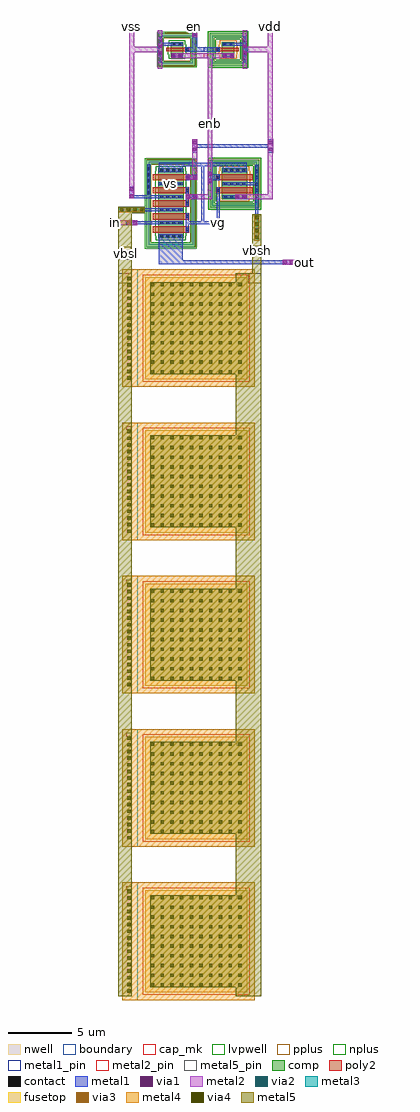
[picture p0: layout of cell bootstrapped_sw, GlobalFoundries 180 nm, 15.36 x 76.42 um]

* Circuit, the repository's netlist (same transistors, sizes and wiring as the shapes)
* NGSPICE file created from bootstrapped_sw.ext - technology: gf180mcuD

.subckt XM1_bs G D a_811_3903# S a_1507_3903#
X0 D G S a_811_3903# nfet_03v3 ad=0.88p pd=4.88u as=0.88p ps=4.88u w=2u l=0.5u
.ends

.subckt XM4_bs G D S
X0 D G S S pfet_03v3 ad=0.88p pd=4.88u as=0.88p ps=4.88u w=2u l=0.5u
.ends

.subckt XMs1_bs G D S a_n2855_n800#
X0 D G S a_n2855_n800# nfet_03v3 ad=0.88p pd=4.88u as=0.88p ps=4.88u w=2u l=0.5u
.ends

.subckt cap_mim_2p0fF_8JNR63 m4_n3440_n548# m4_n3800_n668#
X0 m4_n3440_n548# m4_n3800_n668# cap_mim_2f0fF c_width=8u c_length=8u
.ends

.subckt sw_cap_unit in out
Xcap_mim_2p0fF_8JNR63_0 out in cap_mim_2p0fF_8JNR63
.ends

.subckt sw_cap out in
Xsw_cap_unit_0 in out sw_cap_unit
Xsw_cap_unit_1 in out sw_cap_unit
Xsw_cap_unit_2 in out sw_cap_unit
Xsw_cap_unit_3 in out sw_cap_unit
Xsw_cap_unit_4 in out sw_cap_unit
.ends

.subckt XM3_bs G D S
X0 S G D S pfet_03v3 ad=0.88p pd=4.88u as=0.88p ps=4.88u w=2u l=0.5u
.ends

.subckt XMs_bs G D S a_846_4542#
X0 S G D a_846_4542# nfet_03v3 ad=0.88p pd=4.88u as=0.88p ps=4.88u w=2u l=0.5u
.ends

.subckt XM1_bs_inv G D S
X0 D G S S nfet_03v3 ad=0.44p pd=2.88u as=0.44p ps=2.88u w=1u l=0.28u
.ends

.subckt XM2_bs_inv G D S
X0 S G D S pfet_03v3 ad=0.44p pd=2.88u as=0.44p ps=2.88u w=1u l=0.28u
.ends

.subckt bs_inv in vdd out vss
XXM1_bs_inv_0 in out vss XM1_bs_inv
XXM2_bs_inv_0 in out vdd XM2_bs_inv
.ends

.subckt XM2_bs G D a_811_3460# a_1507_3460# S
X0 S G D a_811_3460# nfet_03v3 ad=0.88p pd=4.88u as=0.88p ps=4.88u w=2u l=0.5u
.ends

.subckt XMs2_bs B G D a_n3988_469# S a_n3988_1165#
X0 D G S a_n3988_469# nfet_03v3 ad=0.88p pd=4.88u as=0.88p ps=4.88u w=2u l=0.5u
.ends

.subckt bootstrapped_sw vbsl vbsh vs vg in vdd vss en enb out
XXM1_bs_0 vg vbsl vss in vss XM1_bs
XXM4_bs_0 enb vg vbsh XM4_bs
XXMs1_bs_0 vdd vs vg vss XMs1_bs
Xsw_cap_0 vbsh vbsl sw_cap
XXM3_bs_0 vg vdd vbsh XM3_bs
XXMs_bs_0 vg out in vss XMs_bs
Xbs_inv_0 en vdd enb vss bs_inv
XXM2_bs_0 enb vbsl vss vss vss XM2_bs
XXMs2_bs_0 XMs2_bs_0/B enb vss vss vs vss XMs2_bs
.ends

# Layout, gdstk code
from math import pi, radians
import gdstk
lib = gdstk.Library(unit=1e-6, precision=1e-09)
def R(c, l, rs):  # rectangles x0, y0, x1, y1
    for r in rs: c.add(gdstk.rectangle(r[:2], r[2:], *l))
def A(c, l, x, y, w, h, nx, ny, dx, dy):  # array of equal rectangles
    R(c, l, [(x+i*dx, y+j*dy, x+i*dx+w, y+j*dy+h) for i in range(nx) for j in range(ny)])
def P(c, l, *ps):  # polygons
    for p in ps: c.add(gdstk.Polygon(p, *l))
boundary = (0, 0)
nwell = (21, 0)
comp = (22, 0)
poly2 = (30, 0)
pplus = (31, 0)
nplus = (32, 0)
contact = (33, 0)
metal1 = (34, 0)
metal1_pin = (34, 10)
via1 = (35, 0)
metal2 = (36, 0)
metal2_pin = (36, 10)
via2 = (38, 0)
via3 = (40, 0)
via4 = (41, 0)
metal3 = (42, 0)
metal4 = (46, 0)
fusetop = (75, 0)
metal5 = (81, 0)
metal5_pin = (81, 10)
cap_mk = (117, 5)
lvpwell = (204, 0)

xms1_bs = lib.new_cell('XMs1_bs')
R(xms1_bs, boundary, [(-14.095,-3.82,-11.695,-0.34)])
R(xms1_bs, comp, [(-14.275,-4,-11.515,-3.64), (-14.275,-3.64,-13.915,-0.52), (-13.585,-3.08,-12.205,-1.08), (-14.275,-0.52,-11.515,-0.16)])
R(xms1_bs, poly2, [(-13.145,-3.495,-12.645,-0.62)])
R(xms1_bs, pplus, [(-14.295,-4.02,-11.495,-3.62), (-14.295,-3.62,-13.885,-3.515), (-14.305,-3.515,-13.885,-0.645), (-14.295,-0.645,-13.885,-0.54), (-14.295,-0.54,-11.495,-0.14)])
R(xms1_bs, nplus, [(-13.375,-3.31,-12.355,-3.24), (-13.745,-3.24,-12.045,-0.92), (-13.375,-0.92,-12.355,-0.85)])
A(xms1_bs, contact, -13.515, -2.895, 0.22, 0.22, 1, 4, 0, 0.47)
A(xms1_bs, contact, -12.495, -2.895, 0.22, 0.22, 1, 4, 0, 0.47)
R(xms1_bs, contact, [(-13.005,-0.91,-12.785,-0.69)])
R(xms1_bs, metal1, [(-14.045,-3.015,-13.29,-1.145), (-12.5,-3.015,-12.27,-1.145), (-13.135,-0.915,-12.655,-0.685)])
R(xms1_bs, lvpwell, [(-14.395,-4.12,-11.335,-0.04)])
xms1_bs.add(gdstk.Label('D', (-12.42,-2.07), layer=34, texttype=0))
xms1_bs.add(gdstk.Label('S', (-13.38,-2.07), layer=34, texttype=0))
xms1_bs.add(gdstk.Label('G', (-12.9,-2.07), layer=30, texttype=10))

xms2_bs = lib.new_cell('XMs2_bs')
R(xms2_bs, boundary, [(-19.76,2.525,-17.36,6.005)])
R(xms2_bs, comp, [(-19.94,2.345,-17.18,2.705), (-19.25,3.265,-17.87,5.265), (-19.94,5.825,-17.18,6.185)])
R(xms2_bs, poly2, [(-18.81,2.805,-18.31,5.68)])
R(xms2_bs, pplus, [(-19.96,2.325,-17.16,2.725), (-19.96,5.805,-17.16,6.205)])
R(xms2_bs, nplus, [(-19.04,3.035,-18.02,3.105), (-19.41,3.105,-17.71,5.425), (-19.04,5.425,-18.02,5.495)])
A(xms2_bs, contact, -19.18, 3.45, 0.22, 0.22, 1, 4, 0, 0.47)
A(xms2_bs, contact, -18.16, 3.45, 0.22, 0.22, 1, 4, 0, 0.47)
R(xms2_bs, contact, [(-18.67,2.875,-18.45,3.095)])
R(xms2_bs, metal1, [(-18.8,2.87,-18.32,3.1), (-19.185,3.33,-18.955,5.2), (-18.165,3.33,-17.935,5.2)])
R(xms2_bs, lvpwell, [(-20.06,2.225,-17,6.305)])
xms2_bs.add(gdstk.Label('D', (-18.04,4.33), layer=34, texttype=0))
xms2_bs.add(gdstk.Label('S', (-19,4.33), layer=34, texttype=0))
xms2_bs.add(gdstk.Label('G', (-18.52,4.33), layer=30, texttype=10))
xms2_bs.add(gdstk.Label('B', (-19.69,6.245), layer=204, texttype=10))

xm2_bs = lib.new_cell('XM2_bs')
R(xm2_bs, boundary, [(4.235,17.48,7.715,19.88)])
R(xm2_bs, comp, [(4.055,17.3,4.415,20.06), (7.535,17.3,7.895,20.06), (4.975,17.99,6.975,19.37)])
R(xm2_bs, poly2, [(4.56,18.43,7.435,18.93)])
R(xm2_bs, pplus, [(4.035,17.28,4.435,20.08), (7.515,17.28,7.915,20.08)])
R(xm2_bs, nplus, [(4.815,17.83,7.135,19.53), (4.745,18.14,4.815,19.16), (7.135,18.2,7.205,19.16)])
A(xm2_bs, contact, 5.16, 18.06, 0.22, 0.22, 4, 2, 0.47, 1.02)
R(xm2_bs, contact, [(7.145,18.57,7.365,18.79)])
R(xm2_bs, metal1, [(5.04,18.055,6.91,18.285), (7.14,18.44,7.37,18.92), (5.04,19.075,6.91,19.305)])
R(xm2_bs, lvpwell, [(3.935,17.18,8.015,20.18)])
xm2_bs.add(gdstk.Label('D', (5.975,18.215), layer=34, texttype=0))
xm2_bs.add(gdstk.Label('S', (5.975,19.175), layer=34, texttype=0))
xm2_bs.add(gdstk.Label('G', (5.975,18.695), layer=30, texttype=10))

xms_bs = lib.new_cell('XMs_bs')
R(xms_bs, boundary, [(4.41,22.89,7.89,25.29)])
R(xms_bs, comp, [(4.23,22.71,4.59,25.47), (4.59,22.71,7.71,23.07), (7.71,22.71,8.07,25.47), (5.15,23.4,7.15,24.78)])
R(xms_bs, poly2, [(4.735,23.84,7.61,24.34)])
R(xms_bs, pplus, [(4.715,22.68,7.585,23.1), (4.21,22.69,4.61,25.49), (4.61,22.69,4.715,23.1), (7.585,22.69,7.69,23.1), (7.69,22.69,8.09,25.49)])
R(xms_bs, nplus, [(4.99,23.24,7.31,24.94), (4.92,23.61,4.99,24.57), (7.31,23.61,7.38,24.63)])
A(xms_bs, contact, 5.335, 23.47, 0.22, 0.22, 4, 2, 0.47, 1.02)
R(xms_bs, contact, [(7.32,23.98,7.54,24.2)])
R(xms_bs, metal1, [(5.215,21.37,7.085,23.695), (7.315,23.85,7.545,24.33), (5.215,24.485,7.085,24.715)])
R(xms_bs, lvpwell, [(4.11,22.59,8.19,25.59)])
xms_bs.add(gdstk.Label('D', (6.18,23.655), layer=34, texttype=0))
xms_bs.add(gdstk.Label('S', (6.18,24.615), layer=34, texttype=0))
xms_bs.add(gdstk.Label('G', (6.18,24.135), layer=30, texttype=10))

xm1_bs = lib.new_cell('XM1_bs')
R(xm1_bs, boundary, [(4.235,19.695,7.715,22.095)])
R(xm1_bs, comp, [(4.055,19.515,4.415,22.275), (7.535,19.515,7.895,22.275), (4.975,20.205,6.975,21.585)])
R(xm1_bs, poly2, [(4.56,20.645,7.435,21.145)])
R(xm1_bs, pplus, [(4.035,19.495,4.435,22.295), (7.515,19.495,7.915,22.295)])
R(xm1_bs, nplus, [(4.815,20.045,7.135,21.745), (4.745,20.355,4.815,21.375), (7.135,20.415,7.205,21.435)])
A(xm1_bs, contact, 5.16, 20.275, 0.22, 0.22, 4, 2, 0.47, 1.02)
R(xm1_bs, contact, [(7.145,20.785,7.365,21.005)])
R(xm1_bs, metal1, [(5.04,20.27,6.91,20.5), (7.14,20.655,7.37,21.135), (5.04,21.29,6.91,21.52)])
R(xm1_bs, lvpwell, [(3.935,19.395,8.015,22.395)])
xm1_bs.add(gdstk.Label('D', (5.965,21.38), layer=34, texttype=0))
xm1_bs.add(gdstk.Label('S', (5.965,20.42), layer=34, texttype=0))
xm1_bs.add(gdstk.Label('G', (5.965,20.9), layer=30, texttype=10))

cap_mim_2p0ff_8jnr63 = lib.new_cell('cap_mim_2p0fF_8JNR63')
R(cap_mim_2p0ff_8jnr63, boundary, [(-17.799,-3.342,-8.599,5.858)])
A(cap_mim_2p0ff_8jnr63, via4, -18.599, -2.772, 0.26, 0.26, 1, 16, 0, 0.52)
A(cap_mim_2p0ff_8jnr63, via4, -16.749, -2.292, 0.26, 0.26, 10, 10, 0.76, 0.76)
R(cap_mim_2p0ff_8jnr63, metal4, [(-18.999,-3.342,-8.599,5.858)])
R(cap_mim_2p0ff_8jnr63, fusetop, [(-17.199,-2.742,-9.199,5.258)])
R(cap_mim_2p0ff_8jnr63, metal5, [(-18.689,-3.057,-18.249,5.573), (-16.799,-2.342,-9.599,4.858)])
R(cap_mim_2p0ff_8jnr63, cap_mk, [(-17.399,-2.942,-8.999,5.458)])

sw_cap_unit = lib.new_cell('sw_cap_unit')
R(sw_cap_unit, metal5_pin, [(-5.939,6.507,-5.499,6.792), (-14.589,7.222,-14.149,7.507)])
sw_cap_unit.add(gdstk.Reference(cap_mim_2p0ff_8jnr63, (4.1,4.45), x_reflection=True))
sw_cap_unit.add(gdstk.Label('out', (-5.714,6.662), layer=81, texttype=10))
sw_cap_unit.add(gdstk.Label('in', (-14.364,7.377), layer=81, texttype=10))

sw_cap = lib.new_cell('sw_cap')
R(sw_cap, metal5, [(-1.39,-47.865,-0.35,8.765), (7.8,-47.865,9.8,8.765)])
R(sw_cap, metal5_pin, [(-1.39,7.948,-0.35,8.752), (8.76,7.948,9.8,8.752)])
sw_cap.add(gdstk.Reference(sw_cap_unit, (13.799,1.258)))
sw_cap.add(gdstk.Reference(sw_cap_unit, (13.799,-10.742)))
sw_cap.add(gdstk.Reference(sw_cap_unit, (13.799,-22.742)))
sw_cap.add(gdstk.Reference(sw_cap_unit, (13.799,-34.742)))
sw_cap.add(gdstk.Reference(sw_cap_unit, (13.799,-46.742)))
sw_cap.add(gdstk.Label('out', (9.28,8.35), layer=81, texttype=10))
sw_cap.add(gdstk.Label('in', (-0.87,8.35), layer=81, texttype=10))

xm1_bs_inv = lib.new_cell('XM1_bs_inv')
R(xm1_bs_inv, boundary, [(-1.09,-1.75,1.09,0.75)])
R(xm1_bs_inv, comp, [(-1.27,-1.93,1.27,-1.57), (-1.27,-1.57,-0.91,0.57), (0.91,-1.57,1.27,0.57), (-0.58,-1,0.58,0), (-1.27,0.57,1.27,0.93)])
R(xm1_bs_inv, poly2, [(-0.14,-1.35,0.14,0.1), (-0.18,0.1,0.18,0.46)])
R(xm1_bs_inv, pplus, [(-1.29,-1.95,1.29,-1.55), (-1.29,-1.55,-0.88,-1.445), (0.88,-1.55,1.29,-1.445), (-1.3,-1.445,-0.88,0.445), (0.88,-1.445,1.3,0.445), (-1.29,0.445,-0.88,0.55), (0.88,0.445,1.29,0.55), (-1.29,0.55,1.29,0.95)])
R(xm1_bs_inv, nplus, [(-0.37,-1.23,0.37,-1.16), (-0.74,-1.16,0.74,0.16), (-0.37,0.16,0.37,0.23)])
A(xm1_bs_inv, contact, -0.815, -1.86, 0.22, 0.22, 4, 1, 0.47, 0)
R(xm1_bs_inv, contact, [(-0.51,-0.845,-0.29,-0.625), (0.29,-0.845,0.51,-0.625), (-0.51,-0.375,-0.29,-0.155), (0.29,-0.375,0.51,-0.155), (-0.11,0.17,0.11,0.39)])
R(xm1_bs_inv, metal1, [(-1,-1.865,1,-1.635), (-0.515,-1.75,-0.285,-0.065), (0.285,-0.935,0.515,-0.065), (-0.17,0.165,0.17,0.395)])
R(xm1_bs_inv, lvpwell, [(-1.39,-2.05,1.39,1.05)])
xm1_bs_inv.add(gdstk.Label('D', (0.39,-0.12), layer=34, texttype=0))
xm1_bs_inv.add(gdstk.Label('S', (-0.415,-0.125), layer=34, texttype=0))
xm1_bs_inv.add(gdstk.Label('G', (-0.015,-0.125), layer=30, texttype=10))

xm2_bs_inv = lib.new_cell('XM2_bs_inv')
R(xm2_bs_inv, boundary, [(-1.09,-1.25,1.09,1.25)])
R(xm2_bs_inv, nwell, [(-1.39,-1.55,1.39,1.55)])
R(xm2_bs_inv, comp, [(-1.27,-1.43,1.27,-1.07), (-1.27,-1.07,-0.91,1.07), (0.91,-1.07,1.27,1.07), (-0.58,-0.5,0.58,0.5), (-1.27,1.07,1.27,1.43)])
R(xm2_bs_inv, poly2, [(-0.14,-0.85,0.14,0.6), (-0.18,0.6,0.18,0.96)])
R(xm2_bs_inv, pplus, [(-0.37,-0.73,0.37,-0.66), (-0.74,-0.66,0.74,0.66), (-0.37,0.66,0.37,0.73)])
R(xm2_bs_inv, nplus, [(-1.43,-1.59,1.43,-0.96), (-1.43,-0.96,-0.8,0.96), (0.8,-0.96,1.43,0.96), (-1.43,0.96,1.43,1.59)])
A(xm2_bs_inv, contact, -0.815, -1.36, 0.22, 0.22, 4, 1, 0.47, 0)
R(xm2_bs_inv, contact, [(-0.51,-0.345,-0.29,-0.125), (0.29,-0.345,0.51,-0.125), (-0.51,0.125,-0.29,0.345), (0.29,0.125,0.51,0.345), (-0.11,0.67,0.11,0.89)])
R(xm2_bs_inv, metal1, [(-1,-1.365,1,-1.135), (0.285,-1.25,0.515,0.435), (-0.515,-0.435,-0.285,0.435), (-0.17,0.665,0.17,0.895)])
xm2_bs_inv.add(gdstk.Label('S', (0.385,-0.125), layer=34, texttype=0))
xm2_bs_inv.add(gdstk.Label('D', (-0.415,-0.125), layer=34, texttype=0))
xm2_bs_inv.add(gdstk.Label('G', (-0.015,-0.125), layer=30, texttype=10))

bs_inv = lib.new_cell('bs_inv')
R(bs_inv, metal1, [(-0.45,-5.515,0.45,-5.135), (0.285,-4.465,0.665,-3.565), (-0.17,-3.335,0.17,-0.665), (0.285,-0.435,0.665,0.465), (-0.45,1.135,0.45,1.515)])
R(bs_inv, metal1_pin, [(-1,-5.365,-0.77,-5.135), (-0.17,-1.92,0.17,-1.58), (-1.025,1.135,-0.795,1.365)])
R(bs_inv, via1, [(-0.39,-5.455,-0.13,-5.195), (0.13,-5.455,0.39,-5.195), (0.345,-4.405,0.605,-4.145), (0.345,-3.885,0.605,-3.625), (0.345,-0.375,0.605,-0.115), (0.345,0.145,0.605,0.405), (-0.39,1.195,-0.13,1.455), (0.13,1.195,0.39,1.455)])
R(bs_inv, metal2, [(-1.5,-5.515,1.5,-5.135), (-0.45,-5.515,0.45,-5.135), (0.285,-4.465,0.665,-3.565), (0.285,-4.465,0.665,0.465), (0.285,-0.435,0.665,0.465), (-1.5,1.135,1.5,1.515), (-0.45,1.135,0.45,1.515)])
R(bs_inv, metal2_pin, [(0.285,-1.92,0.665,-1.58)])
bs_inv.add(gdstk.Reference(xm1_bs_inv, (0,-3.5)))
bs_inv.add(gdstk.Reference(xm2_bs_inv, (0,0), rotation=pi))
bs_inv.add(gdstk.Label('in', (-0.001,-1.737), layer=34, texttype=10))
bs_inv.add(gdstk.Label('vdd', (-0.911,1.25), layer=34, texttype=10))
bs_inv.add(gdstk.Label('vss', (-0.886,-5.25), layer=34, texttype=10))
bs_inv.add(gdstk.Label('out', (0.47,-1.748), layer=36, texttype=10))

xm3_bs = lib.new_cell('XM3_bs')
R(xm3_bs, boundary, [(-1.2,-1.74,1.2,1.74)])
R(xm3_bs, nwell, [(-1.5,-2.04,1.5,2.04)])
R(xm3_bs, comp, [(-1.38,-1.92,1.38,-1.56), (-1.38,-1.56,-1.02,1.56), (-0.69,-1,0.69,1), (-1.38,1.56,1.38,1.92)])
R(xm3_bs, poly2, [(-0.25,-1.415,0.25,1.46)])
R(xm3_bs, pplus, [(-0.48,-1.23,0.51,-1.16), (-0.85,-1.16,0.85,1.16), (-0.48,1.16,0.51,1.23)])
R(xm3_bs, nplus, [(-1.54,-2.08,1.54,-1.45), (-1.54,-1.45,-0.91,1.45), (-1.54,1.45,1.54,2.08)])
A(xm3_bs, contact, -0.58, -1.85, 0.22, 0.22, 3, 1, 0.47, 0)
A(xm3_bs, contact, -0.62, -0.815, 0.22, 0.22, 1, 4, 0, 0.47)
A(xm3_bs, contact, 0.4, -0.815, 0.22, 0.22, 1, 4, 0, 0.47)
R(xm3_bs, contact, [(-0.11,1.17,0.11,1.39)])
R(xm3_bs, metal1, [(-0.8,-1.855,0.8,-1.625), (0.395,-1.855,0.625,0.935), (-0.625,-0.935,-0.395,0.935), (-0.24,1.165,0.24,1.395)])
xm3_bs.add(gdstk.Label('D', (-0.47,0.05), layer=34, texttype=0))
xm3_bs.add(gdstk.Label('S', (0.49,0.05), layer=34, texttype=0))
xm3_bs.add(gdstk.Label('G', (0.01,0.05), layer=30, texttype=10))

xm4_bs = lib.new_cell('XM4_bs')
R(xm4_bs, boundary, [(-1.2,-1.74,1.2,1.74)])
R(xm4_bs, nwell, [(-1.5,-2.04,1.5,2.04)])
R(xm4_bs, comp, [(-1.38,-1.92,1.38,-1.56), (1.02,-1.56,1.38,1.56), (-0.69,-1,0.69,1), (-1.38,1.56,1.38,1.92)])
R(xm4_bs, poly2, [(-0.25,-1.415,0.25,1.46)])
R(xm4_bs, pplus, [(-0.51,-1.23,0.48,-1.16), (-0.85,-1.16,0.85,1.16), (-0.51,1.16,0.48,1.23)])
R(xm4_bs, nplus, [(-1.54,-2.08,1.54,-1.45), (0.91,-1.45,1.54,1.45), (-1.54,1.45,1.54,2.08)])
A(xm4_bs, contact, -0.62, -0.815, 0.22, 0.22, 1, 4, 0, 0.47)
A(xm4_bs, contact, 0.4, -0.815, 0.22, 0.22, 1, 4, 0, 0.47)
R(xm4_bs, contact, [(-0.11,-1.85,0.11,-1.63), (0.36,-1.85,0.58,-1.63), (-0.11,1.17,0.11,1.39)])
R(xm4_bs, metal1, [(-0.8,-1.855,0.8,-1.625), (-0.625,-1.855,-0.395,0.935), (0.395,-0.935,0.625,0.935), (-0.24,1.165,0.24,1.395)])
xm4_bs.add(gdstk.Label('D', (0.48,0), layer=34, texttype=0))
xm4_bs.add(gdstk.Label('S', (-0.48,0), layer=34, texttype=0))
xm4_bs.add(gdstk.Label('G', (0,0), layer=30, texttype=10))

bootstrapped_sw = lib.new_cell('bootstrapped_sw')
A(bootstrapped_sw, contact, 4.15, 15.685, 0.22, 0.22, 1, 5, 0, 0.47)
R(bootstrapped_sw, metal1, [(14.75,10.16,15.65,10.54), (5.065,10.2,14.75,10.5), (12.54,12.04,12.94,13.08), (5.065,12.295,6.935,12.525), (7.165,12.68,7.395,14.18), (12.54,13.08,12.94,14.12), (2.49,13.24,3.39,13.62), (2.49,13.315,6.49,13.545), (7.165,13.315,9.835,13.545), (8.385,13.315,8.615,18.15), (12.625,13.99,12.855,17.99), (1.9,14.25,2.94,14.65), (2.94,14.25,3.98,14.65), (2.94,14.335,6.935,14.565), (7.165,14.72,7.395,16.22), (12.625,14.99,12.855,17.99), (7.165,15.28,8.065,15.66), (11.035,15.28,11.935,15.66), (2.75,15.355,3.13,16.255), (2.75,15.355,6.935,15.585), (4.145,15.355,4.375,18), (2.9,15.385,3.13,16.255), (7.165,15.43,8.035,15.66), (10.065,16.375,12.855,16.605), (8.88,16.55,9.26,17.45), (9.03,16.58,9.26,17.45), (8.88,16.76,9.835,17.24), (7.155,16.81,8.055,17.19), (7.155,16.96,8.025,17.19), (10.065,17.395,11.935,18.15), (5.065,17.85,11.935,18.15), (7.665,18.93,8.065,19.97), (13.605,18.93,14.005,19.97), (7.735,19.32,13.93,19.58), (7.665,26.83,8.065,29), (7.665,27.96,8.065,29)])
P(bootstrapped_sw, metal1, [(9.605,13.315),(9.605,16.22),(9.835,16.22),(9.835,13.315),(9.665,13.315)])
R(bootstrapped_sw, metal1_pin, [(9.605,13.315,9.835,13.545), (5.875,16.375,6.125,16.605)])
A(bootstrapped_sw, via1, 12.61, 12.17, 0.26, 0.26, 1, 4, 0, 0.52)
A(bootstrapped_sw, via1, 2.03, 14.32, 0.26, 0.26, 4, 1, 0.52, 0)
R(bootstrapped_sw, via1, [(14.81,10.22,15.07,10.48), (15.33,10.22,15.59,10.48), (2.55,13.3,2.81,13.56), (3.07,13.3,3.33,13.56), (7.225,15.34,7.485,15.6), (7.745,15.34,8.005,15.6), (11.095,15.34,11.355,15.6), (11.615,15.34,11.875,15.6), (2.81,15.415,3.07,15.675), (2.81,15.935,3.07,16.195), (8.94,16.61,9.2,16.87), (7.215,16.87,7.475,17.13), (7.735,16.87,7.995,17.13), (8.94,17.13,9.2,17.39), (7.735,19.06,7.995,19.32), (13.675,19.06,13.935,19.32), (7.735,19.58,7.995,19.84), (13.675,19.58,13.935,19.84), (7.735,28.09,7.995,28.35), (7.735,28.61,7.995,28.87)])
R(bootstrapped_sw, metal2, [(14.75,10.16,15.65,10.54), (14.75,10.16,16.75,10.54), (12.54,12.04,12.94,13.08), (12.54,13.08,12.94,14.12), (1.39,13.24,3.39,13.62), (2.49,13.24,3.39,13.62), (1.9,14.25,2.94,14.65), (2.94,14.25,3.98,14.65), (7.165,15.28,8.065,15.66), (7.165,15.28,9.26,15.66), (8.88,15.28,9.26,26.715), (11.03,15.28,14,15.66), (11.035,15.28,11.935,15.66), (13.61,15.28,14,29), (2.75,15.355,3.13,16.255), (2.75,15.355,3.13,29), (8.88,16.55,9.26,17.45), (7.155,16.81,8.055,17.19), (7.675,16.81,8.055,19.9), (7.665,18.93,8.065,19.97), (13.605,18.93,14.005,19.97), (4.97,25.5,5.35,28.5), (11.62,25.5,12,28.5), (2.75,26.8,5.35,27.2), (11.62,26.8,14,27.2), (7.665,27.96,8.065,29)])
R(bootstrapped_sw, metal2_pin, [(16.25,10.16,16.75,10.54), (1.39,13.24,1.89,13.62), (8.88,21.02,9.27,21.4), (2.75,28.62,3.13,29), (7.67,28.62,8.06,29), (13.61,28.62,14,29)])
A(bootstrapped_sw, via2, 12.61, 12.17, 0.26, 0.26, 1, 4, 0, 0.52)
A(bootstrapped_sw, via2, 2.03, 14.32, 0.26, 0.26, 4, 1, 0.52, 0)
A(bootstrapped_sw, via3, 12.61, 12.17, 0.26, 0.26, 1, 4, 0, 0.52)
A(bootstrapped_sw, via3, 2.03, 14.32, 0.26, 0.26, 4, 1, 0.52, 0)
A(bootstrapped_sw, via4, 12.61, 12.17, 0.26, 0.26, 1, 4, 0, 0.52)
A(bootstrapped_sw, via4, 2.03, 14.32, 0.26, 0.26, 4, 1, 0.52, 0)
R(bootstrapped_sw, metal3, [(12.54,12.04,12.94,13.08), (12.54,13.08,12.94,14.12), (1.9,14.25,2.94,14.65), (2.94,14.25,3.98,14.65)])
R(bootstrapped_sw, metal4, [(12.54,12.04,12.94,13.08), (12.54,13.08,12.94,14.12), (1.9,14.25,2.94,14.65), (2.94,14.25,3.98,14.65)])
R(bootstrapped_sw, metal5, [(1.9,9.5,2.94,14.25), (12.39,9.5,13.09,14.12), (12.54,12.04,12.94,13.08), (12.54,13.08,12.94,14.12), (1.9,14.2,2.94,14.7), (2.94,14.2,3.98,14.7)])
R(bootstrapped_sw, metal5_pin, [(1.92,10.55,2.92,11.55), (12.39,10.93,13.09,11.63)])
bootstrapped_sw.add(gdstk.Reference(xms1_bs, (8.08,4.105), rotation=3*pi/2))
bootstrapped_sw.add(gdstk.Reference(xms2_bs, (10.265,-2.58), rotation=3*pi/2, x_reflection=True))
bootstrapped_sw.add(gdstk.Reference(xm2_bs, (0.025,-3.72)))
bootstrapped_sw.add(gdstk.Reference(xms_bs, (-0.15,-11.17)))
bootstrapped_sw.add(gdstk.Reference(xm1_bs, (0.025,-6.955)))
bootstrapped_sw.add(gdstk.Reference(sw_cap, (3.29,0.735)))
bootstrapped_sw.add(gdstk.Reference(bs_inv, (10.485,27), rotation=3*pi/2))
bootstrapped_sw.add(gdstk.Reference(xm3_bs, (11,15.98), rotation=pi/2))
bootstrapped_sw.add(gdstk.Reference(xm4_bs, (11,17), rotation=pi/2))
bootstrapped_sw.add(gdstk.Label('vbsl', (2.42,11.05), layer=81, texttype=10))
bootstrapped_sw.add(gdstk.Label('vbsh', (12.755,11.265), layer=81, texttype=10))
bootstrapped_sw.add(gdstk.Label('vs', (5.995,16.5), layer=34, texttype=10))
bootstrapped_sw.add(gdstk.Label('vg', (9.72,13.425), layer=34, texttype=10))
bootstrapped_sw.add(gdstk.Label('in', (1.64,13.43), layer=36, texttype=10))
bootstrapped_sw.add(gdstk.Label('vdd', (13.805,28.81), layer=36, texttype=10))
bootstrapped_sw.add(gdstk.Label('vss', (2.94,28.81), layer=36, texttype=10))
bootstrapped_sw.add(gdstk.Label('en', (7.865,28.81), layer=36, texttype=10))
bootstrapped_sw.add(gdstk.Label('enb', (9.075,21.21), layer=36, texttype=10))
bootstrapped_sw.add(gdstk.Label('out', (16.5,10.35), layer=36, texttype=10))

lib.write_gds('bootstrapped_sw.gds')
